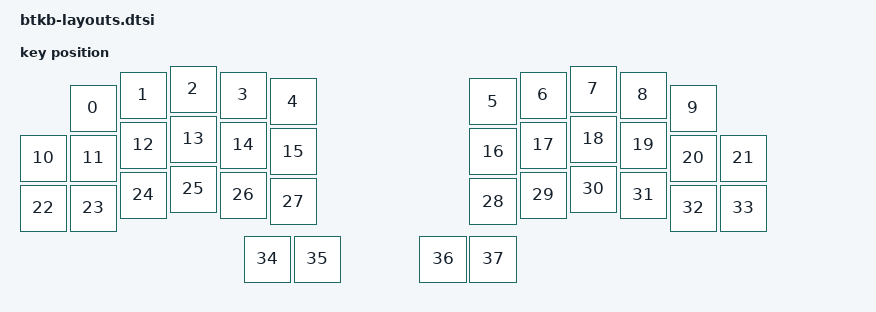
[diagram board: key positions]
#include <physical_layouts.dtsi>

/ {
    physical_layout0: physical_layout_0 { // First physical layout, use different naming for other layouts
        compatible = "zmk,physical-layout";
        display-name = "Default Layout";
        kscan = <&kscan0>; // Label of the kscan node, optional if all layouts use the same
        transform = <&default_transform>; // Label of the matrix transform for this layout

        keys  //                     w   h    x    y     rot    rx    ry
            = <&key_physical_attrs 100 100  100   38       0     0     0>
            , <&key_physical_attrs 100 100  200   12       0     0     0>
            , <&key_physical_attrs 100 100  300    0       0     0     0>
            , <&key_physical_attrs 100 100  400   12       0     0     0>
            , <&key_physical_attrs 100 100  500   25       0     0     0>
            , <&key_physical_attrs 100 100  900   25       0     0     0>
            , <&key_physical_attrs 100 100 1000   12       0     0     0>
            , <&key_physical_attrs 100 100 1100    0       0     0     0>
            , <&key_physical_attrs 100 100 1200   12       0     0     0>
            , <&key_physical_attrs 100 100 1300   38       0     0     0>
            , <&key_physical_attrs 100 100    0  138       0     0     0>
            , <&key_physical_attrs 100 100  100  138       0     0     0>
            , <&key_physical_attrs 100 100  200  112       0     0     0>
            , <&key_physical_attrs 100 100  300  100       0     0     0>
            , <&key_physical_attrs 100 100  400  112       0     0     0>
            , <&key_physical_attrs 100 100  500  125       0     0     0>
            , <&key_physical_attrs 100 100  900  125       0     0     0>
            , <&key_physical_attrs 100 100 1000  112       0     0     0>
            , <&key_physical_attrs 100 100 1100  100       0     0     0>
            , <&key_physical_attrs 100 100 1200  112       0     0     0>
            , <&key_physical_attrs 100 100 1300  138       0     0     0>
            , <&key_physical_attrs 100 100 1400  138       0     0     0>
            , <&key_physical_attrs 100 100    0  238       0     0     0>
            , <&key_physical_attrs 100 100  100  238       0     0     0>
            , <&key_physical_attrs 100 100  200  212       0     0     0>
            , <&key_physical_attrs 100 100  300  200       0     0     0>
            , <&key_physical_attrs 100 100  400  212       0     0     0>
            , <&key_physical_attrs 100 100  500  225       0     0     0>
            , <&key_physical_attrs 100 100  900  225       0     0     0>
            , <&key_physical_attrs 100 100 1000  212       0     0     0>
            , <&key_physical_attrs 100 100 1100  200       0     0     0>
            , <&key_physical_attrs 100 100 1200  212       0     0     0>
            , <&key_physical_attrs 100 100 1300  238       0     0     0>
            , <&key_physical_attrs 100 100 1400  238       0     0     0>
            , <&key_physical_attrs 100 100  448  340       0     0     0>
            , <&key_physical_attrs 100 100  548  340       0     0     0>
            , <&key_physical_attrs 100 100  800  340       0     0     0>
            , <&key_physical_attrs 100 100  900  340       0     0     0>
            ;
    };
};
